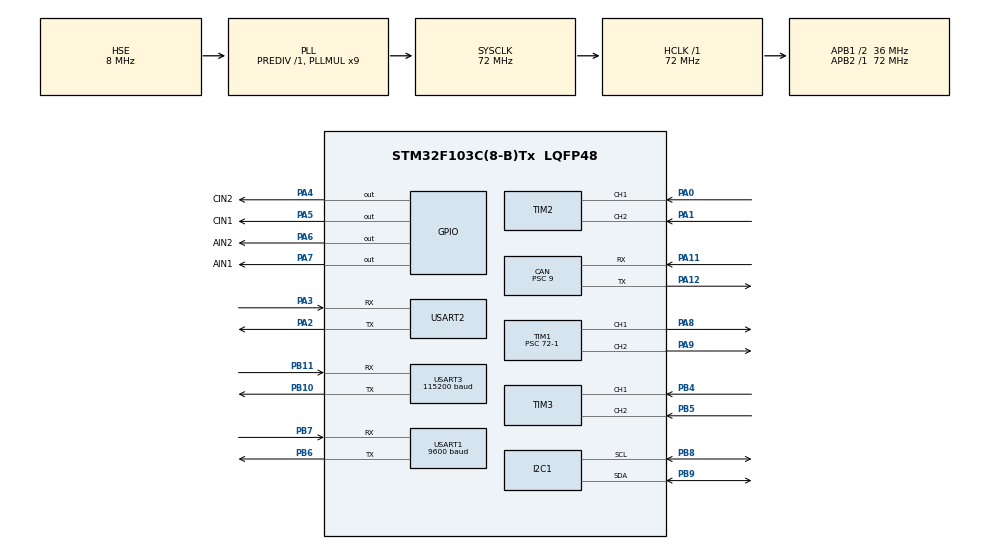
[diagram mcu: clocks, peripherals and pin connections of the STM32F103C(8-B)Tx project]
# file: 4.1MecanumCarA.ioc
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CAN.BS1=CAN_BS1_5TQ
CAN.BS2=CAN_BS2_2TQ
CAN.CalculateBaudRate=500000
CAN.CalculateTimeBit=2000
CAN.CalculateTimeQuantum=250.0
CAN.Prescaler=9
I2C1.I2C_Mode=I2C_Fast
Mcu.Family=STM32F1
Mcu.Name=STM32F103C(8-B)Tx
Mcu.Package=LQFP48
NVIC.PriorityGroup=NVIC_PRIORITYGROUP_4
NVIC.TIM4_IRQn=true\:0\:0\:false\:false\:true\:true\:true\:true
NVIC.USART1_IRQn=true\:0\:0\:false\:false\:true\:true\:true\:true
NVIC.USART3_IRQn=true\:0\:0\:false\:false\:true\:true\:true\:true
NVIC.USB_HP_CAN1_TX_IRQn=true\:0\:0\:false\:false\:true\:true\:true\:true
NVIC.USB_LP_CAN1_RX0_IRQn=true\:0\:0\:false\:false\:true\:true\:true\:true
PA0-WKUP.GPIO_PuPd=GPIO_PULLUP
PA0-WKUP.Signal=S_TIM2_CH1_ETR
PA1.GPIO_PuPd=GPIO_PULLUP
PA1.Signal=S_TIM2_CH2
PA11.Mode=CAN_Activate
PA11.Signal=CAN_RX
PA12.Mode=CAN_Activate
PA12.Signal=CAN_TX
PA13.Mode=Serial_Wire
PA13.Signal=SYS_JTMS-SWDIO
PA14.Mode=Serial_Wire
PA14.Signal=SYS_JTCK-SWCLK
PA2.Mode=Asynchronous
PA2.Signal=USART2_TX
PA3.Mode=Asynchronous
PA3.Signal=USART2_RX
PA4.GPIO_Label=CIN2
PA4.GPIO_PuPd=GPIO_PULLUP
PA4.PinState=GPIO_PIN_SET
PA4.Signal=GPIO_Output
PA5.GPIO_Label=CIN1
PA5.GPIO_PuPd=GPIO_PULLUP
PA5.PinState=GPIO_PIN_SET
PA5.Signal=GPIO_Output
PA6.GPIO_Label=AIN2
PA6.GPIO_PuPd=GPIO_PULLUP
PA6.GPIO_Speed=GPIO_SPEED_FREQ_HIGH
PA6.PinState=GPIO_PIN_SET
PA6.Signal=GPIO_Output
PA7.GPIO_Label=AIN1
PA7.GPIO_PuPd=GPIO_PULLUP
PA7.GPIO_Speed=GPIO_SPEED_FREQ_HIGH
PA7.PinState=GPIO_PIN_SET
PA7.Signal=GPIO_Output
PA8.GPIO_Speed=GPIO_SPEED_FREQ_HIGH
PA8.Signal=S_TIM1_CH1
PA9.GPIO_Speed=GPIO_SPEED_FREQ_HIGH
PA9.Signal=S_TIM1_CH2
PB10.Mode=Asynchronous
PB10.Signal=USART3_TX
PB11.Mode=Asynchronous
PB11.Signal=USART3_RX
PB4.GPIO_PuPd=GPIO_PULLUP
PB4.Signal=S_TIM3_CH1
PB5.GPIO_PuPd=GPIO_PULLUP
PB5.Signal=S_TIM3_CH2
PB6.Mode=Asynchronous
PB6.Signal=USART1_TX
PB7.Mode=Asynchronous
PB7.Signal=USART1_RX
PB8.Mode=I2C
PB8.Signal=I2C1_SCL
PB9.Mode=I2C
PB9.Signal=I2C1_SDA
PD0-OSC_IN.Mode=HSE-External-Oscillator
PD0-OSC_IN.Signal=RCC_OSC_IN
PD1-OSC_OUT.Mode=HSE-External-Oscillator
PD1-OSC_OUT.Signal=RCC_OSC_OUT
ProjectManager.HeapSize=0x200
ProjectManager.StackSize=0x400
ProjectManager.TargetToolchain=MDK-ARM V5.32
RCC.AHBFreq_Value=72000000
RCC.APB1CLKDivider=RCC_HCLK_DIV2
RCC.APB1Freq_Value=36000000
RCC.APB1TimFreq_Value=72000000
RCC.APB2Freq_Value=72000000
RCC.APB2TimFreq_Value=72000000
RCC.HCLKFreq_Value=72000000
RCC.PLLMUL=RCC_PLL_MUL9
RCC.PLLSourceVirtual=RCC_PLLSOURCE_HSE
RCC.SYSCLKFreq_VALUE=72000000
RCC.SYSCLKSource=RCC_SYSCLKSOURCE_PLLCLK
RCC.USBFreq_Value=72000000
SH.S_TIM1_CH1.0=TIM1_CH1,PWM Generation1 CH1
SH.S_TIM1_CH2.0=TIM1_CH2,PWM Generation2 CH2
SH.S_TIM2_CH1_ETR.0=TIM2_CH1,Encoder_Interface
SH.S_TIM2_CH2.0=TIM2_CH2,Encoder_Interface
SH.S_TIM3_CH1.0=TIM3_CH1,Encoder_Interface
SH.S_TIM3_CH2.0=TIM3_CH2,Encoder_Interface
TIM1.Channel-PWM\ Generation1\ CH1=TIM_CHANNEL_1
TIM1.Channel-PWM\ Generation2\ CH2=TIM_CHANNEL_2
TIM1.Period=100-1
TIM1.Prescaler=72-1
TIM2.EncoderMode=TIM_ENCODERMODE_TI12
TIM3.EncoderMode=TIM_ENCODERMODE_TI12
TIM4.Period=100-1
TIM4.Prescaler=7200-1
USART1.BaudRate=9600
USART1.VirtualMode=VM_ASYNC
USART2.VirtualMode=VM_ASYNC
USART3.BaudRate=115200
USART3.VirtualMode=VM_ASYNC
VP_TIM1_VS_ClockSourceINT.Mode=Internal
VP_TIM4_VS_ClockSourceINT.Mode=Internal
board=custom

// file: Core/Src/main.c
/* USER CODE BEGIN Header */
/**
  ******************************************************************************
  * @file           : main.c
  * @brief          : Main program body
  ******************************************************************************
  * @attention
  *
  * Copyright (c) 2025 STMicroelectronics.
  * All rights reserved.
  *
  * This software is licensed under terms that can be found in the LICENSE file
  * in the root directory of this software component.
  * If no LICENSE file comes with this software, it is provided AS-IS.
  *
  ******************************************************************************
  */
/* USER CODE END Header */
#include "main.h"
#include "can.h"
#include "i2c.h"
#include "tim.h"
#include "usart.h"
#include "gpio.h"

/* USER CODE BEGIN Includes */
#include "MPU6050.h"
#include "pid.h"
#include "stdio.h"
#include "stdlib.h"
#include "string.h"
/* USER CODE END Includes */

/* USER CODE BEGIN PV */
float pitch=0,roll=0,yaw=0;//用到yaw轴角度
float temp1=0,temp3=0;//中间值，读取电机速度、角度时用到
int ret=0,delta1=0,delta3=0,cnt1=0,cnt3=0;//MPU6050初始化时用到的参数，当前角度与目标角度差值，CNT
int speed1=0,angle1=0,target_angle1=0,real_target_speed1=0,target_speed1=0,pwm_out1=0,sum_angle1=0;
int speed3=0,angle3=0,target_angle3=0,real_target_speed3=0,target_speed3=0,pwm_out3=0,sum_angle3=0;//当前速度、角度，目标角度、速度、PWM占空比
int PID_mode=1,yaw_flag=0;//PID模式，yaw轴闭环模式
const fp32 PID_speed1[3]={0.12,0.01,0};//内环速度环Kp、Ki、Kd参数
const fp32 PID_position1[3]={4.0,0.0024,0};//外环角度环Kp、Ki、Kd参数
const fp32 PID_speed3[3]={0.12,0.01,0};
const fp32 PID_position3[3]={4.0,0.0024,0};
pid_type_def Position1,Speed1;//外环角度环结构体和内环速度环结构体
pid_type_def Position3,Speed3;
volatile uint8_t rx_flag1 = 0;
volatile uint8_t rx_data1;//串口1是否接收到数据的标志位，串口一传输的数据
volatile uint8_t rx_flag3 = 0;
volatile uint8_t rx_data3;
static CAN_TxHeaderTypeDef TxHeader;
uint8_t TxData[1] = {0x00};
uint32_t TxMailbox;//CAN通信配置，用于对yaw轴闭环，当板子一判断符合条件时向板子二发送0x00停止信号
/* USER CODE END PV */

void SystemClock_Config(void);

/* USER CODE BEGIN 0 */
void HAL_TIM_PeriodElapsedCallback(TIM_HandleTypeDef *htim)
{

	if(htim->Instance == TIM4)
	{
		cnt1 = __HAL_TIM_GET_COUNTER(&htim2);
		cnt3 = __HAL_TIM_GET_COUNTER(&htim3);

		if(cnt1>=30000)	{cnt1=cnt1-65535;}
		temp1 = ( cnt1 * 360 * 100 ) / (4 * 13 * 34 ) ;
		speed1 = (int)temp1;
		sum_angle1 = sum_angle1 + (int)temp1*0.01;//测出电机1当时速度、角度

		if(cnt3>=30000)	{cnt3=cnt3-65535;}
		temp3 = ( cnt3 * 360 * 100 ) / (4 * 13 * 34 ) ;
		speed3 = (int)temp3;
		sum_angle3 = sum_angle3 + (int)temp3*0.01;//测出电机2当时速度、角度

		if(delta1<=30 && delta1>=-30 && PID_mode==1)
		{
			__HAL_TIM_SetCompare(&htim1,TIM_CHANNEL_1,0);//达到条件电机停止
		}else
		{
			target_speed1=PID_calc(&Position1,0,delta1);
			if(PID_mode==0)	{target_speed1=real_target_speed1;}
			pwm_out1=PID_calc(&Speed1,speed1,target_speed1);//PID计算
			if(pwm_out1>0)//pwm_ou1t>0时电机正转，反之反转
			{
				HAL_GPIO_WritePin(GPIOA, AIN1_Pin, GPIO_PIN_SET);
				HAL_GPIO_WritePin(GPIOA, AIN2_Pin, GPIO_PIN_RESET);
			}else
			{
				HAL_GPIO_WritePin(GPIOA, AIN1_Pin, GPIO_PIN_RESET);
				HAL_GPIO_WritePin(GPIOA, AIN2_Pin, GPIO_PIN_SET);
				pwm_out1=(-1)*pwm_out1;
			}
			__HAL_TIM_SetCompare(&htim1,TIM_CHANNEL_1,pwm_out1);
		}

		if(delta3<=30 && delta3>=-30 && PID_mode==1)
		{
			__HAL_TIM_SetCompare(&htim1,TIM_CHANNEL_2,0);//达到条件电机停止
		}else
		{
			target_speed3=PID_calc(&Position3,0,delta3);
			if(PID_mode==0)	{target_speed3=real_target_speed3;}
			pwm_out3=PID_calc(&Speed3,speed3,target_speed3);//PID计算
			if(pwm_out3>0)//pwm_out3>0时电机正转，反之反转
			{
				HAL_GPIO_WritePin(GPIOA, CIN1_Pin, GPIO_PIN_SET);
				HAL_GPIO_WritePin(GPIOA, CIN2_Pin, GPIO_PIN_RESET);
			}else
			{
				HAL_GPIO_WritePin(GPIOA, CIN1_Pin, GPIO_PIN_RESET);
				HAL_GPIO_WritePin(GPIOA, CIN2_Pin, GPIO_PIN_SET);
				pwm_out3=(-1)*pwm_out3;
			}
			__HAL_TIM_SetCompare(&htim1,TIM_CHANNEL_2,pwm_out3);
		}

	__HAL_TIM_SetCounter(&htim2,0);
	__HAL_TIM_SetCounter(&htim3,0);

//		if(speed3!=0)
//		{
//			char buffer[64];
//			sprintf(buffer, "%d,%d,%d\n",target_speed3,speed3,pwm_out3);
//			HAL_UART_Transmit(&huart2, (uint8_t*)buffer, strlen(buffer), HAL_MAX_DELAY);
//		}//用于VOFA+调试输出曲线

	}

}

void HAL_UART_RxCpltCallback(UART_HandleTypeDef *huart)
{
    if (huart->Instance == USART1)
    {
			rx_flag1=1;
      HAL_UART_Receive_IT(&huart1, (uint8_t *)&rx_data1, 1);
    }
}//串口1接收蓝牙消息
/* USER CODE END 0 */

int main(void)
{

  /* MCU Configuration--------------------------------------------------------*/

  /* Reset of all peripherals, Initializes the Flash interface and the Systick. */
  HAL_Init();

  /* Configure the system clock */
  SystemClock_Config();

  /* Initialize all configured peripherals */
  MX_GPIO_Init();
  MX_I2C1_Init();
  MX_TIM1_Init();
  MX_TIM2_Init();
  MX_TIM3_Init();
  MX_TIM4_Init();
  MX_USART1_UART_Init();
  MX_USART3_UART_Init();
  MX_USART2_UART_Init();
  MX_CAN_Init();
  /* USER CODE BEGIN 2 */
	do{
			ret = MPU6050_DMP_init();
		}while(ret);//MPU6050初始化
	HAL_TIM_PWM_Start(&htim1, TIM_CHANNEL_1);
  HAL_TIM_PWM_Start(&htim1, TIM_CHANNEL_2);//声明开启定时器1通道一二，产生10KHz的PWM波
	HAL_TIM_Encoder_Start(&htim2, TIM_CHANNEL_ALL);
  HAL_TIM_Encoder_Start(&htim3, TIM_CHANNEL_ALL);//声明开启定时器2、3的编码器模式
  HAL_TIM_Base_Start_IT(&htim4);//声明开启定时器4的中断
	__HAL_TIM_SetCounter(&htim2,0);
	__HAL_TIM_SetCounter(&htim3,0);//程序开始时手动将定时器编码器的CNT值置0
	PID_init(&Position1,PID_POSITION,PID_position1,500.0f,1000.0f);
  PID_init(&Speed1,PID_POSITION,PID_speed1,30.0f,1000.0f);
	PID_init(&Position3,PID_POSITION,PID_position3,500.0f,1000.0f);
  PID_init(&Speed3,PID_POSITION,PID_speed3,30.0f,1000.0f);//PID初始化
	HAL_UART_Receive_IT(&huart1, (uint8_t *)&rx_data1, 1);//声明开启串口1的接收中断，用于接收蓝牙发送的消息

	CAN_FilterTypeDef filter;
  filter.FilterIdHigh = 0x0000;
  filter.FilterIdLow = 0x0000;
  filter.FilterMaskIdHigh = 0x0000;
  filter.FilterMaskIdLow = 0x0000;
  filter.FilterFIFOAssignment = CAN_FILTER_FIFO0;
  filter.FilterBank = 0;
  filter.FilterMode = CAN_FILTERMODE_IDMASK;
  filter.FilterScale = CAN_FILTERSCALE_32BIT;
  filter.FilterActivation = ENABLE;
  filter.SlaveStartFilterBank = 14;
  HAL_CAN_ConfigFilter(&hcan, &filter);//CAN通信发送端过滤器配置

	HAL_CAN_Start(&hcan);
	HAL_CAN_ActivateNotification(&hcan, CAN_IT_RX_FIFO0_MSG_PENDING);
	TxHeader.StdId = 0x123;    // 标准ID
  TxHeader.RTR = CAN_RTR_DATA;
  TxHeader.IDE = CAN_ID_STD;
  TxHeader.DLC = 1;         // 数据长度1字节
  TxHeader.TransmitGlobalTime = DISABLE;
  /* USER CODE END 2 */

  /* Infinite loop */
  while (1)
  {

    /* USER CODE BEGIN 3 */
		MPU6050_DMP_Get_Date(&pitch,&roll,&yaw);
		if(yaw_flag)
		{
			if(yaw>=-2.0 && yaw<=2.0)
			{
				yaw_flag=0;PID_mode=1;
				target_angle1=0;target_angle3=0;
				target_speed1=0;target_speed3=0;
				sum_angle1=0;sum_angle3=0;
				delta1=0;delta3=0;
				HAL_CAN_AddTxMessage(&hcan, &TxHeader, TxData, &TxMailbox);
			}
		}//实现yaw轴闭环，当板子一判断符合条件时向板子二发送停止信号

		if(rx_flag1)//对蓝牙接收到的消息进行运动模式判断
		{
			rx_flag1=0;

			if(rx_data1 == 0xFF)
			{
				yaw_flag=1;
				if(yaw<=-2.0)		{rx_data1=0x05;}
				else if(yaw>=2.0)		{rx_data1=0x06;}
				else {rx_data1=0x00;}
			}//实现yaw轴闭环，根据yaw轴此时角度判断需要左转圈还是右转圈

			if(rx_data1 == 0x00)		{PID_mode=1;target_angle1=0;target_angle3=0;real_target_speed1=0;real_target_speed3=0;sum_angle1=0;sum_angle3=0;}//停止

			else if(rx_data1 == 0x01)	{PID_mode=0;real_target_speed1=500;real_target_speed3=-500;target_angle1=0;target_angle3=0;sum_angle1=0;sum_angle3=0;}//定速前进
			else if(rx_data1 == 0xF1)	{PID_mode=1;target_angle1=1440;target_angle3=-1440;sum_angle1=0;sum_angle3=0;}//定位移前进

			else if(rx_data1 == 0x02)	{PID_mode=0;real_target_speed1=-500;real_target_speed3=500;target_angle1=0;target_angle3=0;sum_angle1=0;sum_angle3=0;}//定速后退
			else if(rx_data1 == 0xF2)	{PID_mode=1;target_angle1=-1440;target_angle3=1440;sum_angle1=0;sum_angle3=0;}//定位移后退

			else if(rx_data1 == 0x03)	{PID_mode=0;real_target_speed1=500;real_target_speed3=-500;target_angle1=0;target_angle3=0;sum_angle1=0;sum_angle3=0;}//定速左移
			else if(rx_data1 == 0xF3)	{PID_mode=1;target_angle1=1440;target_angle3=-1440;sum_angle1=0;sum_angle3=0;}//定位移左移

			else if(rx_data1 == 0x04)	{PID_mode=0;real_target_speed1=-500;real_target_speed3=500;target_angle1=0;target_angle3=0;sum_angle1=0;sum_angle3=0;}//定速右移
			else if(rx_data1 == 0xF4)	{PID_mode=1;target_angle1=-1440;target_angle3=1440;sum_angle1=0;sum_angle3=0;}//定位移右移

			else if(rx_data1 == 0x05)	{PID_mode=0;real_target_speed1=500;real_target_speed3=500;target_angle1=0;target_angle3=0;sum_angle1=0;sum_angle3=0;}//定速左转弯
			else if(rx_data1 == 0xF5)	{PID_mode=1;target_angle1=720;target_angle3=720;sum_angle1=0;sum_angle3=0;}//定位移左转弯

			else if(rx_data1 == 0x06)	{PID_mode=0;real_target_speed1=-500;real_target_speed3=-500;target_angle1=0;target_angle3=0;sum_angle1=0;sum_angle3=0;}//定速右转弯
			else if(rx_data1 == 0xF6)	{PID_mode=1;target_angle1=-720;target_angle3=-720;sum_angle1=0;sum_angle3=0;}//定位移右转弯

			else if(rx_data1 == 0x07)	{PID_mode=0;real_target_speed1=500;real_target_speed3=-500;target_angle1=0;target_angle3=0;sum_angle1=0;sum_angle3=0;}//定速左前
			else if(rx_data1 == 0xF7)	{PID_mode=1;target_angle1=1440;target_angle3=-1440;sum_angle1=0;sum_angle3=0;}//定位移左前

			else if(rx_data1 == 0x08)	{PID_mode=1;target_angle1=0;target_angle3=0;real_target_speed1=0;real_target_speed3=0;sum_angle1=0;sum_angle3=0;}//定速左后
			else if(rx_data1 == 0xF8)	{PID_mode=0;target_angle1=0;target_angle3=0;real_target_speed1=0;real_target_speed3=0;sum_angle1=0;sum_angle3=0;}//定位移左后

			else if(rx_data1 == 0x09)	{PID_mode=1;target_angle1=0;target_angle3=0;real_target_speed1=0;real_target_speed3=0;sum_angle1=0;sum_angle3=0;}//定速右前
			else if(rx_data1 == 0xF9)	{PID_mode=0;target_angle1=0;target_angle3=0;real_target_speed1=0;real_target_speed3=0;sum_angle1=0;sum_angle3=0;}//定位移右前

			else if(rx_data1 == 0x0A)	{PID_mode=0;real_target_speed1=-500;real_target_speed3=500;target_angle1=0;target_angle3=0;sum_angle1=0;sum_angle3=0;}//定速右后
			else if(rx_data1 == 0xFA)	{PID_mode=1;target_angle1=-1440;target_angle3=1440;sum_angle1=0;sum_angle3=0;}//定位移右后

			HAL_UART_Transmit(&huart1, (uint8_t *)&rx_data1, 1, HAL_MAX_DELAY);//将接收到的蓝牙消息反传给手机(串口1)
			HAL_UART_Transmit(&huart3, (uint8_t *)&rx_data1, 1, HAL_MAX_DELAY);//将接收到的蓝牙消息传给板子二(串口3)
		}

		if(PID_mode)//PID_mode为真(1)时为串级双闭环PID，PID_mode假(0)时为串级双闭环PID
		{
			delta1=target_angle1-sum_angle1;
			delta3=target_angle3-sum_angle3;
		}
		else	{delta1=0;delta3=0;}

  }
  /* USER CODE END 3 */
}

void SystemClock_Config(void)
{
  RCC_OscInitTypeDef RCC_OscInitStruct = {0};
  RCC_ClkInitTypeDef RCC_ClkInitStruct = {0};

  /** Initializes the RCC Oscillators according to the specified parameters
  * in the RCC_OscInitTypeDef structure.
  */
  RCC_OscInitStruct.OscillatorType = RCC_OSCILLATORTYPE_HSE;
  RCC_OscInitStruct.HSEState = RCC_HSE_ON;
  RCC_OscInitStruct.HSEPredivValue = RCC_HSE_PREDIV_DIV1;
  RCC_OscInitStruct.HSIState = RCC_HSI_ON;
  RCC_OscInitStruct.PLL.PLLState = RCC_PLL_ON;
  RCC_OscInitStruct.PLL.PLLSource = RCC_PLLSOURCE_HSE;
  RCC_OscInitStruct.PLL.PLLMUL = RCC_PLL_MUL9;
  if (HAL_RCC_OscConfig(&RCC_OscInitStruct) != HAL_OK)
  {
    Error_Handler();
  }

  /** Initializes the CPU, AHB and APB buses clocks
  */
  RCC_ClkInitStruct.ClockType = RCC_CLOCKTYPE_HCLK|RCC_CLOCKTYPE_SYSCLK
                              |RCC_CLOCKTYPE_PCLK1|RCC_CLOCKTYPE_PCLK2;
  RCC_ClkInitStruct.SYSCLKSource = RCC_SYSCLKSOURCE_PLLCLK;
  RCC_ClkInitStruct.AHBCLKDivider = RCC_SYSCLK_DIV1;
  RCC_ClkInitStruct.APB1CLKDivider = RCC_HCLK_DIV2;
  RCC_ClkInitStruct.APB2CLKDivider = RCC_HCLK_DIV1;

  if (HAL_RCC_ClockConfig(&RCC_ClkInitStruct, FLASH_LATENCY_2) != HAL_OK)
  {
    Error_Handler();
  }
}

void Error_Handler(void)
{
  __disable_irq();
  while (1)
  {
  }
}
